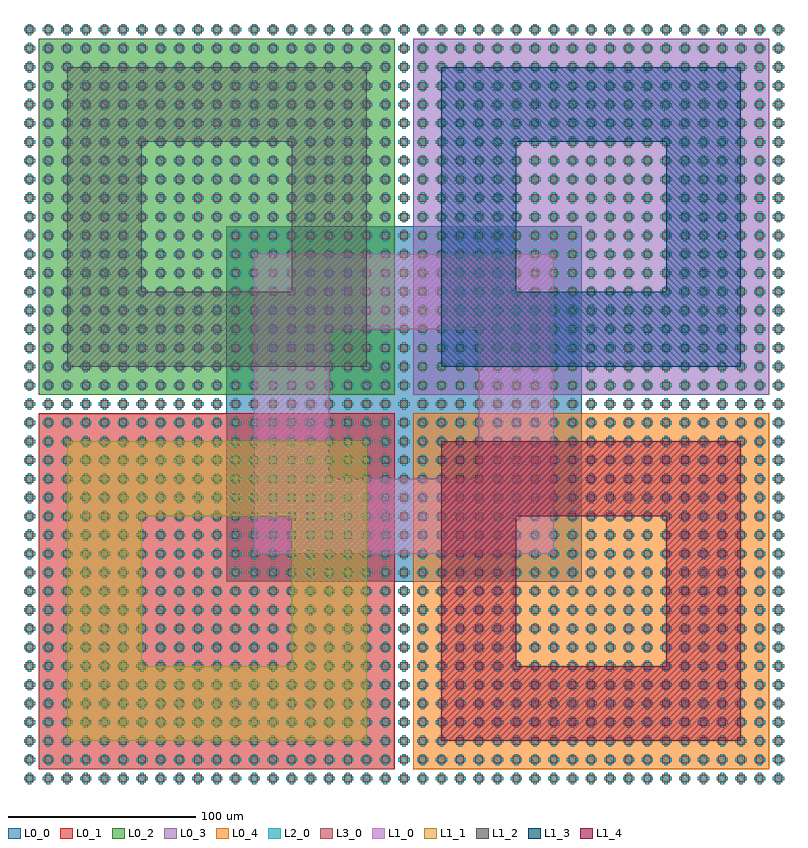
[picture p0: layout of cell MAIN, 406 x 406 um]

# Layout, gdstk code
import gdstk
lib = gdstk.Library(unit=1e-6, precision=1e-09)
def R(c, l, rs):  # rectangles x0, y0, x1, y1
    for r in rs: c.add(gdstk.rectangle(r[:2], r[2:], *l))
def P(c, l, *ps):  # polygons
    for p in ps: c.add(gdstk.Polygon(p, *l))
L0_0 = (0, 0)
L0_1 = (0, 1)
L0_2 = (0, 2)
L0_3 = (0, 3)
L0_4 = (0, 4)
L1_0 = (1, 0)
L1_1 = (1, 1)
L1_2 = (1, 2)
L1_3 = (1, 3)
L1_4 = (1, 4)
L2_0 = (2, 0)
L3_0 = (3, 0)

rect_00 = lib.new_cell('RECT_00')
R(rect_00, L0_0, [(-95,-95,95,95)])

rect_01 = lib.new_cell('RECT_01')
R(rect_01, L0_1, [(-95,-95,95,95)])

rect_02 = lib.new_cell('RECT_02')
R(rect_02, L0_2, [(-95,-95,95,95)])

rect_03 = lib.new_cell('RECT_03')
R(rect_03, L0_3, [(-95,-95,95,95)])

rect_04 = lib.new_cell('RECT_04')
R(rect_04, L0_4, [(-95,-95,95,95)])

window_10 = lib.new_cell('WINDOW_10')
P(window_10, L1_0, [(-40,-40),(-80,-80),(-80,80),(80,80),(80,-80),(-80,-80),(-40,-40),(40,-40),(40,40),(-40,40),(-40,-40)])

window_11 = lib.new_cell('WINDOW_11')
P(window_11, L1_1, [(-40,-40),(-80,-80),(-80,80),(80,80),(80,-80),(-80,-80),(-40,-40),(40,-40),(40,40),(-40,40),(-40,-40)])

window_12 = lib.new_cell('WINDOW_12')
P(window_12, L1_2, [(-40,-40),(-80,-80),(-80,80),(80,80),(80,-80),(-80,-80),(-40,-40),(40,-40),(40,40),(-40,40),(-40,-40)])

window_13 = lib.new_cell('WINDOW_13')
P(window_13, L1_3, [(-40,-40),(-80,-80),(-80,80),(80,80),(80,-80),(-80,-80),(-40,-40),(40,-40),(40,40),(-40,40),(-40,-40)])

window_14 = lib.new_cell('WINDOW_14')
P(window_14, L1_4, [(-40,-40),(-80,-80),(-80,80),(80,80),(80,-80),(-80,-80),(-40,-40),(40,-40),(40,40),(-40,40),(-40,-40)])

cross = lib.new_cell('CROSS')
P(cross, L2_0, [(-1,-3),(-1,-1),(-3,-1),(-3,1),(-1,1),(-1,3),(1,3),(1,1),(3,1),(3,-1),(1,-1),(1,-3)])

square = lib.new_cell('SQUARE')
R(square, L3_0, [(-2,-2,2,2)])

main = lib.new_cell('MAIN')
main.add(gdstk.Reference(rect_00, (200,200)))
main.add(gdstk.Reference(rect_01, (100,100)))
main.add(gdstk.Reference(rect_02, (100,300)))
main.add(gdstk.Reference(rect_03, (300,300)))
main.add(gdstk.Reference(rect_04, (300,100)))
main.add(gdstk.Reference(window_10, (200,200)))
main.add(gdstk.Reference(window_11, (100,100)))
main.add(gdstk.Reference(window_12, (100,300)))
main.add(gdstk.Reference(window_13, (300,300)))
main.add(gdstk.Reference(window_14, (300,100)))
r = gdstk.Reference(cross, (0,0)); r.repetition = gdstk.Repetition(41, 41, v1=(10,0), v2=(0,10)); main.add(r)
r = gdstk.Reference(square, (0,0)); r.repetition = gdstk.Repetition(41, 41, v1=(10,0), v2=(0,10)); main.add(r)

lib.write_gds('MAIN.gds')
